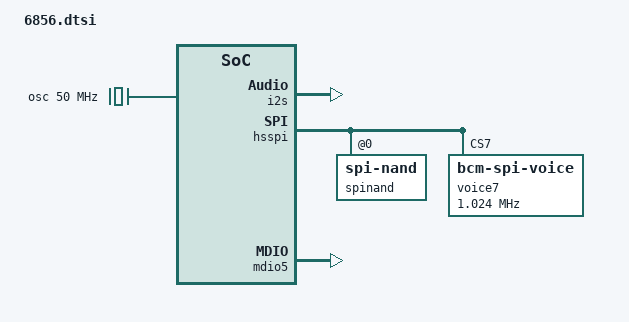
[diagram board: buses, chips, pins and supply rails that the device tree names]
/dts-v1/;

#include "linux_autoconf.h"

#include "../../boot_rsvdmem.dtsi"

/ {
	/* arch */
	#define PERIPH_CLK			200000000
	#define HS_SPI_PLL_CLK			400000000	
	#define PMU_CORE0_SPI	9
	#define PMU_CORE1_SPI	10
	#include "../../ip/bcm_b53_dual.dtsi"
};
/ {
	/* memory reservations */
	#include "../../bcm_rsvdmem.dtsi"

	/* memc */
	#include "../../ip/memc.dtsi"

	aliases {
		serial0 = &uart0;
		serial1 = &uart1;
		spi1 = &hsspi; /* 0 = legacy, 1 = high speed */
		hs_serial0 = &hs_uart0;
		spinand0 = &spinand;
		nand0 = &nand;
	};

	chosen {
		stdout-path = "serial0:115200n8";
		/* increase coherent_pool size */
		bootargs = "coherent_pool=4M cpuidle_sysfs_switch pci=pcie_bus_safe console=ttyS0,115200 earlycon rootwait";
	};

	/* PMC */
	pmc: pmc {
		#define PMC_REG_OFFSET              0x0 0xffb01018 
		#define PMC_REG_SIZE                0x0 0x5080
		#define PROCMON_REG_OFFSET          0x0 0xffb20000
		#define PROCMON_REG_SIZE            0x0 0x240
		#define MAESTRO_REG_OFFSET          0x0 0xffb20400
		#define MAESTRO_REG_SIZE            0x0 0x5d0
		#include "../../ip/bcm_pmc_3_1.dtsi"
	};

	/* boot state */
	boot_state: boot_state {
		#define RESET_REASON_OFFSET  0x0 0xff80263c
		#define RESET_REASON_SIZE    0x0 0x4
		#define RESET_STATUS_OFFSET  0x0 0xff85a03c
		#define RESET_STATUS_SIZE    0x0 0x4
		#include "../../ip/bcm_boot_state_v2.dtsi"
	};

	/* wan type auto detect */
	wantype_detect {
		#define GPON_GENERAL_CONFIG_ADDR	0x0 0x82db1000
		#define GPON_GENERAL_CONFIG_SIZE	0x0 0x10
		#define EPON_TOP_ADDR			0x0 0x82dac000
		#define EPON_TOP_SIZE			0x0 0x1C
		#define EPON_LIF_ADDR			0x0 0x82dad800
		#define EPON_LIF_SIZE			0x0 0x110
		#define EPON_XPCSR_ADDR			0x0 0x82daf000
		#define EPON_XPCSR_SIZE			0x0 0x124
		#define NGPON_RXGEN_ADDR		0x0 0x82db4000
		#define NGPON_RXGEN_SIZE		0x0 0x80
		#include "../../ip/bcm_wantype_detect.dtsi"
	};

	/* pcie common */
	pcie: pcie {
		compatible = "brcm,bcm-pcie";
		device_type = "cpci";
		brcm,pllclkid = <0x210>;
	};

	/* pcie core 0 */
	pcie0: pcie0 {
		/* pcie core 0*/
		#define PCIE_ID				0
		#define PCIE_SPI			60
		#define PCIE_ADDR			0 0x80040000
		#define PCIE_SIZE			0 0x0000A000
					      /*           flags    pci_addr     cpu_addr     size */
		#define PCIE_RANGE			0x02000000 0 0x90000000 0 0x90000000 0 0x10000000
		#include "../../ip/bcm_pcie_core.dtsi"
	};

	/* pcie core 1*/
	pcie1: pcie1 {
		#define PCIE_ID				1
		#define PCIE_SPI			61
		#define PCIE_ADDR			0 0x80050000
		#define PCIE_SIZE			0 0x0000A000
					      /*        flags,		pci_addr,   cpu_addr     size */
		#define PCIE_RANGE			0x02000000 0 0xA0000000 0 0xA0000000 0 0x10000000
		#include "../../ip/bcm_pcie_core.dtsi"
	};

	/* pcie core 2*/
	pcie2: pcie2 {
		#define PCIE_ID				2
		#define PCIE_SPI			62
		#define PCIE_ADDR			0 0x80060000
		#define PCIE_SIZE			0 0x0000A000
					      /*        flags,		pci_addr,   cpu_addr     size */
		#define PCIE_RANGE			0x02000000 0 0xB0000000 0 0xB0000000 0 0x10000000
		#include "../../ip/bcm_pcie_core.dtsi"
	};

	/* usb */
	usb_ctrl: usb_ctrl {
		#define USB_CTRL_ADDR       0x0 0x8000c200
		#define USB_CTRL_SIZE       0x0 0x100
		#include "../../ip/bcm_usb_ctrl.dtsi"
    };

	usb0_xhci: usb0_xhci {
		#define USB_ADDR            0x0 0x8000d000
		#define USB_SIZE            0x0 0x1000
		#define USB_IRQ             121
		#include "../../ip/bcm_usb_xhci.dtsi"
	};

	usb0_ehci: usb0_ehci {
		#define USB_ADDR			0x0 0x8000c300
		#define USB_SIZE			0x0 0x100
		#define USB_IRQ             125
        #define USB_PORT_ID         0
		#include "../../ip/bcm_usb_ehci.dtsi"
	};

	usb1_ehci: usb1_ehci {
		#define USB_ADDR			0x0 0x8000c500
		#define USB_SIZE			0x0 0x100
		#define USB_IRQ             123
        #define USB_PORT_ID         1
		#include "../../ip/bcm_usb_ehci.dtsi"
	};

	usb0_ohci: usb0_ohci {
		#define USB_ADDR			0x0 0x8000c400
		#define USB_SIZE			0x0 0x100
		#define USB_IRQ             124
        #define USB_PORT_ID         0
		#include "../../ip/bcm_usb_ohci.dtsi"
	};

	usb1_ohci: usb1_ohci {
		#define USB_ADDR			0x0 0x8000c600
		#define USB_SIZE			0x0 0x100
		#define USB_IRQ             122
        #define USB_PORT_ID         1
		#include "../../ip/bcm_usb_ohci.dtsi"
	};

	/* NAND controller and EMMC although they are on PERIPH bus, but to facilitate single 
	  device tree for linux/uboot and because uboot cannot interpret composite
	  addresses, has no scope */
	/* NAND controller */
	nand: nand {
		#define NAND_CTRL_OFFSET		0x0 0xff801800
		#define NAND_CTRL_SIZE			0x0 0x400
		#define NAND_INTR_OFFSET		0x0 0xff802000
		#define NAND_INTR_SIZE			0x0 0x10
		#define NAND_CACHE_OFFSET		0x0 0xff801C00
		#define NAND_CACHE_SIZE			0x0 0x200
		#include "../../ip/bcm_nand7_1.dtsi"
	};

   	/* EMMC */
	sdhci: sdhci {
		#define SDHCI_OFFSET			0x00000000 0xff858000
		#define SDHCI_SIZE			0x00000000 0x100
		#define SDHCI_TOPCFG_OFFSET		0x00000000 0xff858100
		#define SDHCI_TOPCFG_SIZE		0x00000000 0x100
		#define SDHCI_BOOT_OFFSET		0x00000000 0xff858200
		#define SDHCI_BOOT_SIZE			0x00000000 0x40
		#define SDHCI_AHBSS_CTRL_OFFSET		0x00000000 0xff858300
		#define SDHCI_AHBSS_CTRL_SIZE		0x00000000 0x100
		#define SDIO_EMMC_SPI			95
		#include "../../ip/bcm_sdhci.dtsi"
	};

    hs_uart0: hs_serial0 {
        #define UART_OFFSET			0x0 0xff858400
        #define UART_SIZE			0x0 0x1E0
        #define UART_SPI 			93
        #include "../../ip/bcm_hs_uart.dtsi"
    };

	periph {
		compatible = "simple-bus";
		#address-cells = <2>;
		#size-cells = <2>;
		ranges = <0x0 0x0 0x0 0xff800000 0x0 0x62000>;

		/* UART */
		uart0: serial0 {
			#define UART_OFFSET			0x0 0x640
			#define UART_SIZE			0x0 0x18
			#define UART_SPI 			32
			#include "../../ip/bcm_uart.dtsi"
		};

		/* UART 2*/
		uart1: serial1 {
			#define UART_OFFSET			0x0 0x660
			#define UART_SIZE			0x0 0x18
			#define UART_SPI 			33
			#include "../../ip/bcm_uart.dtsi"
		};

		rng: rng {
			#define RNG200_OFFSET			0x0 0x00000b80
			#define RNG200_SIZE			0x0 0x28
			#include "../../ip/bcm_rng200.dtsi"
		};

		i2c0: i2c0 {
			#define I2C_OFFSET			0x0 0x2100
			#define I2C_SIZE			0x0 0x60
			#include "../../ip/bcm_i2c_bus.dtsi"
		};

		/* periph timers */
		timers: timers {
			#define TIMERS_OFFSET		0x0 0x400
			#define TIMERS__SIZE		0x0 0x48
			#define TIMER0_SPI			11
			#define TIMER1_SPI			12
			#define TIMER2_SPI			13
			#define TIMER3_SPI			14
			#include "../../ip/bcm_timer.dtsi"
		};

		/* watchdog */
		wdt: watchdog {
			#define WATCHDOG_OFFSET			0x0 0x480
			#define WATCHDOG_SIZE			0x0 0x10
			#define WATCHDOG_TIMEOUT		80
			#include "../../ip/bcm_wdt.dtsi"
		};

		/* watchdog reboot */
		wdt-reboot {
			compatible = "wdt-reboot";
			wdt = <&wdt>;
		};
		
		/* sotp */
		sotp {
			#define SOTP_OFFSET			0x0 0xc00
			#define SOTP_SIZE			0x0 0x84
			#include "../../ip/bcm_sotp.dtsi"
		};
		
		/* pinctrl */
		pincontroller: pinctrl {
			#define PINCTRL_OFFSET			0x0 0x554
			#define PINCTRL_SIZE			0x0 0xc
			#define PINCTRL_NUM_PINS		84
			#define PINCTRL_NUM_FUNC		8
			#define PINCTRL_GPIO_FUNC		4
			#include "../../ip/bcm_bca_pinctrl.dtsi"
			#include "6856_pinctrl.dtsi"
		};

		/* gpio */
		gpioc: gpioc {
			#define GPIO_DIR_OFFSET      0x0 0x500
			#define GPIO_DIR_SIZE        0x0 0x20
			#define GPIO_DATA_OFFSET     0x0 0x520
			#define GPIO_DATA_SIZE       0x0 0x20
			#define NUM_OF_GPIOS         84 
			#include "../../ip/bcm_bca_gpio.dtsi"
		};

		/* external interrups */
		bca_extintr: bca_extintr0 {
			#define EXTINTR_OFFSET       0x0 0x4
			#define EXTINTR_SIZE         0x0 0x48
			#define MAX_EXT_INTR         8
			#include "../../ip/bcm_bca_extintr.dtsi"
			external_interrupts = <181 182 183 184 185 186 187 188>;
		};

		/* Led Controller */
		led_ctrl: led_ctrl {
			#define LED_GLBL_CTRL_OFFSET     0x0 0x800
			#define LED_GLBL_CTRL_SIZE       0x0 0x4 
			#define LED_HW_EN_OFFSET         0x0 0x808
			#define LED_HW_EN_SIZE           0x0 0x4
			#define LED_SER_SHIFT_OFFSET     0x0 0x80c
			#define LED_SER_SHIFT_SIZE       0x0 0x4
			#define LED_FLASH_RATE_OFFSET    0x0 0x810
			#define LED_FLASH_RATE_SIZE      0x0 0x10
			#define LED_BRIGHTNESS_OFFSET    0x0 0x820
			#define LED_BRIGHTNESS_SIZE      0x0 0x10
			#define LED_POWER_LED_CFG_OFFSET 0x0 0x830
			#define LED_POWER_LED_CFG_SIZE   0x0 0x4
			#define LED_POWER_LUT_OFFSET     0x0 0x834
			#define LED_POWER_LUT_SIZE       0x0 0x80
			#define LED_HW_POLARITY_OFFSET   0x0 0x8b4
			#define LED_HW_POLARITY_SIZE     0x0 0x4
			#define LED_SW_DATA_OFFSET       0x0 0x8b8
			#define LED_SW_DATA_SIZE         0x0 0x4
			#define LED_SW_POLARITY_OFFSET   0x0 0x8bc
			#define LED_SW_POLARITY_SIZE     0x0 0x4
			#define LED_PAR_POLARITY_OFFSET  0x0 0x8c0
			#define LED_PAR_POLARITY_SIZE    0x0 0x4
			#define LED_SER_POLARITY_OFFSET  0x0 0x8c4
			#define LED_SER_POLARITY_SIZE    0x0 0x4
			#define LED_MASK_OFFSET          0x0 0x804
			#define LED_MASK_SIZE            0x0 0x4
			#define MAX_SUPPORTED_LEDS       32

			hw-polarity-quirk = <0xc0000000>;
			status = "okay";
			#include "../../ip/bcm_led_ctrl.dtsi"
			#include "6856_leds.dtsi"
		};

        legacy_leds: legacy_leds {
			compatible = "brcm,legacy-led";
        };

		i2s: bcm63xx-i2s {
			compatible = "brcm,bcm63xx-i2s";
			reg = <0 0x2080 0 0x21>; 
			clocks = <&i2sclk>, <&osc>;
			clock-names = "i2sclk","i2sosc";
			pinctrl-0 = <&i2s_lrck_pin_2 &i2s_sclk_pin_1 &i2s_sdata_pin_0>;
			pinctrl-names = "default";
		};

		/* HS SPI */
		hsspi: spi {
			pinctrl-0 = <&spim_group_pins>;
			pinctrl-names = "default";
			#define HS_SPI_OFFSET			0x0 0x1000
			#define HS_SPI_SIZE			0x0 0x600
			#define HS_SPI_MAX_FREQ			100000000
			#include "../../ip/bcm_hsspi.dtsi"
			spinand: spi-nand@0 {
				#define SPINAND_MAX_FREQ	100000000
				#include "../../ip/bcm_spinand.dtsi"
			};

			voice7 {
				pinctrl-0 = <&pcm_sdin_pin_45 &pcm_sdout_pin_46 &pcm_clk_pin_47 &pcm_fs_pin_75>;
				pinctrl-names = "default";
				compatible = "bcm-spi-voice";
				reg = <7>; /* chip select 7 */
				spi-index = <7>;/* ZSI/ISI header position index */
				spi-max-frequency = <1024000>;
			};
		};
	};

	/* i2s */
	clocks {
		i2s_clkmclk_syscon: i2s_clkmclk_syscon@0xFF802080 {
			compatible = "brcm,i2s-audio-clkmclk-syscon", "syscon";
			reg = <0x0 0xFF802080 0x0 0x4>;
		};

		osc: oscillator {
			#clock-cells = <0>;
			compatible = "fixed-clock";
			clock-frequency = <50000000>; /* xpon 50MHz output */
		};

		i2sclk: i2sclk@0x80158000 {
			#clock-cells = <0>;
			compatible = "brcm,i2s-clock";
			clocks = <&osc>;
			clk-mclk-syscon        = <&i2s_clkmclk_syscon>;
			clock-output-names     = "i2s_clk";
		};
	};

    therm0: brcm-therm {
		compatible = "brcm,therm";
		reboot-temperature = <130000>; /* millicelsius */
	};

	/* pcm */
	pcm5100 {
		compatible = "brcm,pcm5100";
	};

	bcm63xx-pcm-audio {
		compatible = "brcm,bcm63xx-pcm-audio";
		interrupts = <GIC_SPI 84 IRQ_TYPE_LEVEL_HIGH>;
	};

    unimac {
		compatible = "brcm,unimac";
        reg = <0x0 0x82da0000 0x0 0x6000>,
              <0x0 0x82da8000 0x0 0x1800>,
              <0x0 0x82daa000 0x0 0x1800>;
        conf_offset = <0x1000>;
        mib_offset = <0x400>;
        top_offset = <0x400>;
        mib_step = <0x1>;
    };

    egphy {
		compatible = "brcm,egphy";
        reg = <0x0 0x82db2200 0x0 0x10>;
    };

    sgmii {
		compatible = "brcm,sgmii";
        reg = <0x0 0x82db2280 0x0 0x14>;
    };

    mdio5 {
		compatible = "brcm,mdio5";
        reg = <0x0 0xff802060 0x0 0x10>,
              <0x0 0xff85a068 0x0 0x4>;
    };

	rgmii: rgmii {
        compatible = "brcm,rgmii1";
        reg = <0x0 0x82d98300 0x0 0x44>,
              <0x0 0xff800500 0x0 0x78>,
              <0x0 0xff85a004 0x0 0x04>;
        status = "disabled";
	};

	mdio: mdio {
		compatible = "simple-bus";
		bus-type = "MDIO_V1_INT";
		#address-cells = <1>;
		#size-cells = <0>;

		phy1:1 {
			compatible = "brcm,bcaphy";
			phy-type = "EGPHY";
			reg = <1>;
			status = "disabled";
		};

		phy2:2 {
			compatible = "brcm,bcaphy";
			phy-type = "EGPHY";
			reg = <2>;
			status = "disabled";
		};

		phy3:3 {
			compatible = "brcm,bcaphy";
			phy-type = "EGPHY";
			reg = <3>;
			status = "disabled";
		};

		phy4:4 {
			compatible = "brcm,bcaphy";
			phy-type = "EGPHY";
			reg = <4>;
			status = "disabled";
		};

		phy_rgmii:rgmii {
			compatible = "brcm,bcaphy";
			phy-type = "EXT1";
			status = "disabled";
		};

		phy_detect:detect {
			compatible = "brcm,bcaphy";
			phy-type = "EXT3";
			status = "disabled";
		};

		phy_ext_serdes:ext_serdes {
			compatible = "brcm,bcaphy";
            caps-no-hdx;
            caps-no-10000;
            caps-no-5000;
            phy-type = "EXT3";
			status = "disabled";
		};

		phy_serdes:serdes {
			compatible = "brcm,bcaphy";
			phy-type = "SGMII";
			reg = <6>;
			status = "disabled";
		};
	};

	switch0: switch0 {
		compatible = "brcm,enet";
		label = "bcmsw";
		sw-type = "RUNNER_SW";

        pinctrl-0 = <&per_mdc_pin_60 &per_mdio_pin_61 &rgmii1_pins>;
        pinctrl-names = "default";

		ports {
			#address-cells = <1>;
			#size-cells = <0>;

			port0@0 {
				reg = <0>;
				mac-type = "UNIMAC";
				phy-handle = <&phy1>;
				phy-mode = "gmii";
				gmii-direct;
				status = "disabled";
			};

			port1@1 {
				reg = <1>;
				mac-type = "UNIMAC";
				phy-handle = <&phy2>;
				phy-mode = "gmii";
				gmii-direct;
				status = "disabled";
			};

			port2@2 {
				reg = <2>;
				mac-type = "UNIMAC";
				phy-handle = <&phy3>;
				phy-mode = "gmii";
				gmii-direct;
				status = "disabled";
			};

			port3@3 {
				reg = <3>;
				mac-type = "UNIMAC";
				phy-handle = <&phy4>;
				phy-mode = "gmii";
				gmii-direct;
				status = "disabled";
			};

			port4@4 {
				reg = <4>;
				mac-type = "UNIMAC";
				phy-handle = <&phy_rgmii>;
				phy-mode = "rgmii";
				gmii-direct;
				status = "disabled";
			};

			port5@5 {
				reg = <5>;
				mac-type = "UNIMAC";
				phy-handle = <&phy_serdes>;
				phy-mode = "hsgmii";
				gmii-direct;
				status = "disabled";
			};

			port_detect@6 {
				reg = <6>;
				phy-handle = <&phy_detect>;
				phy-mode = "xfi";
				is-wan;
				detect;
				status = "disabled";
			};
		};
	};
};

